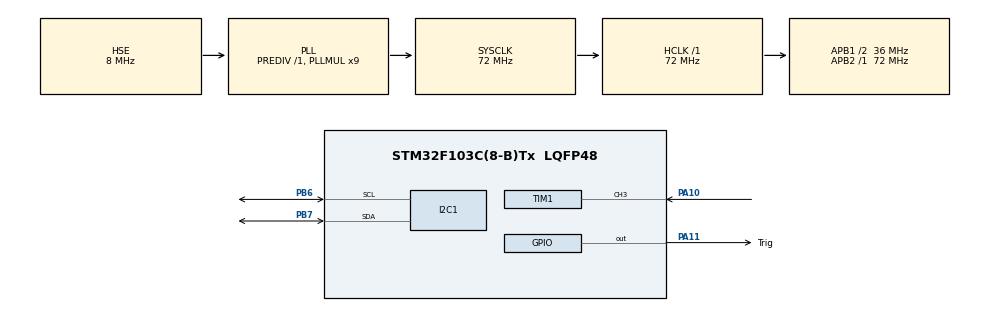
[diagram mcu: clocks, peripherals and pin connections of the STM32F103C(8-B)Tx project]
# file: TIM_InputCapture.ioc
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Mcu.Family=STM32F1
Mcu.Name=STM32F103C(8-B)Tx
Mcu.Package=LQFP48
NVIC.PriorityGroup=NVIC_PRIORITYGROUP_4
NVIC.TIM1_CC_IRQn=true\:0\:0\:false\:false\:true\:true\:true\:true
PA10.Signal=S_TIM1_CH3
PA11.GPIO_Label=Trig
PA11.Signal=GPIO_Output
PA13.Mode=Serial_Wire
PA13.Signal=SYS_JTMS-SWDIO
PA14.Mode=Serial_Wire
PA14.Signal=SYS_JTCK-SWCLK
PB6.Mode=I2C
PB6.Signal=I2C1_SCL
PB7.Mode=I2C
PB7.Signal=I2C1_SDA
PD0-OSC_IN.Mode=HSE-External-Oscillator
PD0-OSC_IN.Signal=RCC_OSC_IN
PD1-OSC_OUT.Mode=HSE-External-Oscillator
PD1-OSC_OUT.Signal=RCC_OSC_OUT
ProjectManager.HeapSize=0x200
ProjectManager.StackSize=0x400
ProjectManager.TargetToolchain=CMake
RCC.AHBFreq_Value=72000000
RCC.APB1CLKDivider=RCC_HCLK_DIV2
RCC.APB1Freq_Value=36000000
RCC.APB1TimFreq_Value=72000000
RCC.APB2Freq_Value=72000000
RCC.APB2TimFreq_Value=72000000
RCC.HCLKFreq_Value=72000000
RCC.PLLMUL=RCC_PLL_MUL9
RCC.PLLSourceVirtual=RCC_PLLSOURCE_HSE
RCC.SYSCLKFreq_VALUE=72000000
RCC.SYSCLKSource=RCC_SYSCLKSOURCE_PLLCLK
RCC.USBFreq_Value=72000000
SH.S_TIM1_CH3.0=TIM1_CH3,Input_Capture3_from_TI3
TIM1.Channel-Input_Capture3_from_TI3=TIM_CHANNEL_3
TIM1.Channel-Input_Capture4_from_TI3_63=TIM_CHANNEL_4
TIM1.ICPolarity_CH4=TIM_INPUTCHANNELPOLARITY_FALLING
TIM1.Prescaler=72-1
VP_TIM1_VS_ClockSourceINT.Mode=Internal
VP_TIM1_VS_indirect_ch3.Mode=Input_Capture4_from_TI3_63
board=custom

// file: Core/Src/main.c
/* USER CODE BEGIN Header */
/**
  ******************************************************************************
  * @file           : main.c
  * @brief          : Main program body
  ******************************************************************************
  * @attention
  *
  * Copyright (c) 2026 STMicroelectronics.
  * All rights reserved.
  *
  * This software is licensed under terms that can be found in the LICENSE file
  * in the root directory of this software component.
  * If no LICENSE file comes with this software, it is provided AS-IS.
  *
  ******************************************************************************
  */
/* USER CODE END Header */
#include "main.h"
#include "i2c.h"
#include "tim.h"
#include "gpio.h"

/* USER CODE BEGIN Includes */
#include <stdio.h>
#include "oled.h"

/* USER CODE END Includes */

void SystemClock_Config(void);

/* USER CODE BEGIN 0 */
int upEdge =0;
int downEdge =0;
float distance = 0;
void HAL_TIM_IC_CaptureCallback(TIM_HandleTypeDef *htim) {
  if (htim ==&htim1 && htim ->Channel == HAL_TIM_ACTIVE_CHANNEL_4)
    {
      upEdge = HAL_TIM_ReadCapturedValue(htim, TIM_CHANNEL_3);
      downEdge = HAL_TIM_ReadCapturedValue(htim, TIM_CHANNEL_4);
      distance = (downEdge - upEdge) * 0.034 / 2;
    }
}
/* USER CODE END 0 */

int main(void)
{

  /* MCU Configuration--------------------------------------------------------*/

  /* Reset of all peripherals, Initializes the Flash interface and the Systick. */
  HAL_Init();

  /* Configure the system clock */
  SystemClock_Config();

  /* Initialize all configured peripherals */
  MX_GPIO_Init();
  MX_I2C1_Init();
  MX_TIM1_Init();
  /* USER CODE BEGIN 2 */
HAL_Delay(20); // 等待OLED上电
  OLED_Init();

  HAL_TIM_Base_Start(&htim1); // 启动定时器
  HAL_TIM_IC_Start(&htim1, TIM_CHANNEL_3); // 启动输入捕获
  HAL_TIM_IC_Start_IT(&htim1, TIM_CHANNEL_4); // 启动输入捕获

char message [32] = "";
  /* USER CODE END 2 */

  /* Infinite loop */
  /* USER CODE BEGIN WHILE */
  while (1)
  {
      HAL_GPIO_WritePin(Trig_GPIO_Port, Trig_Pin, GPIO_PIN_SET);
      HAL_Delay(1);
      HAL_GPIO_WritePin(Trig_GPIO_Port, Trig_Pin, GPIO_PIN_RESET);
      __HAL_TIM_SET_COUNTER(&htim1, 0); // 清空计数器
      HAL_Delay(20);

      OLED_NewFrame();
      sprintf(message, "距离:%.2f cm", distance);
      OLED_PrintString(0, 0, message, &font16x16, OLED_COLOR_NORMAL);
      OLED_ShowFrame();

      HAL_Delay(500);
    /* USER CODE END WHILE */

  }
}

void SystemClock_Config(void)
{
  RCC_OscInitTypeDef RCC_OscInitStruct = {0};
  RCC_ClkInitTypeDef RCC_ClkInitStruct = {0};

  /** Initializes the RCC Oscillators according to the specified parameters
  * in the RCC_OscInitTypeDef structure.
  */
  RCC_OscInitStruct.OscillatorType = RCC_OSCILLATORTYPE_HSE;
  RCC_OscInitStruct.HSEState = RCC_HSE_ON;
  RCC_OscInitStruct.HSEPredivValue = RCC_HSE_PREDIV_DIV1;
  RCC_OscInitStruct.HSIState = RCC_HSI_ON;
  RCC_OscInitStruct.PLL.PLLState = RCC_PLL_ON;
  RCC_OscInitStruct.PLL.PLLSource = RCC_PLLSOURCE_HSE;
  RCC_OscInitStruct.PLL.PLLMUL = RCC_PLL_MUL9;
  if (HAL_RCC_OscConfig(&RCC_OscInitStruct) != HAL_OK)
  {
    Error_Handler();
  }

  /** Initializes the CPU, AHB and APB buses clocks
  */
  RCC_ClkInitStruct.ClockType = RCC_CLOCKTYPE_HCLK|RCC_CLOCKTYPE_SYSCLK
                              |RCC_CLOCKTYPE_PCLK1|RCC_CLOCKTYPE_PCLK2;
  RCC_ClkInitStruct.SYSCLKSource = RCC_SYSCLKSOURCE_PLLCLK;
  RCC_ClkInitStruct.AHBCLKDivider = RCC_SYSCLK_DIV1;
  RCC_ClkInitStruct.APB1CLKDivider = RCC_HCLK_DIV2;
  RCC_ClkInitStruct.APB2CLKDivider = RCC_HCLK_DIV1;

  if (HAL_RCC_ClockConfig(&RCC_ClkInitStruct, FLASH_LATENCY_2) != HAL_OK)
  {
    Error_Handler();
  }
}

void Error_Handler(void)
{
  __disable_irq();
  while (1)
  {
  }
}
